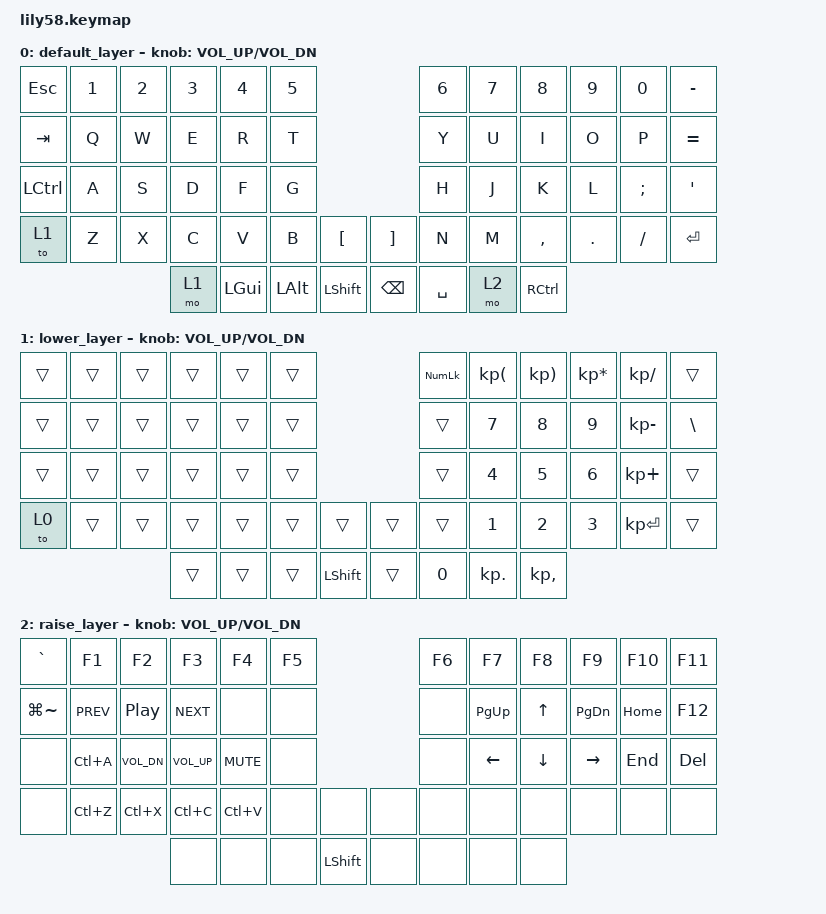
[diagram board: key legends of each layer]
/*
 * Copyright (c) 2020 The ZMK Contributors
 *
 * SPDX-License-Identifier: MIT
 */

#include <behaviors.dtsi>
#include <dt-bindings/zmk/keys.h>
#include <dt-bindings/zmk/bt.h>
#include <dt-bindings/zmk/ext_power.h>

/ {
	keymap {
		compatible = "zmk,keymap";

		default_layer {
// ------------------------------------------------------------------------------------------------------------
// |  ESC  |  1  |  2  |   3   |  4   |  5   |                   |  6   |  7    |  8    |  9   |   0   |   -   |
// |  TAB  |  Q  |  W  |   E   |  R   |  T   |                   |  Y   |  U    |  I    |  O   |   P   |   =   |
// |  CTRL |  A  |  S  |   D   |  F   |  G   |                   |  H   |  J    |  K    |  L   |   ;   |   '   |
// | TO(1) |  Z  |  X  |   C   |  V   |  B   |   "["  |  |  "]"  |  N   |  M    |  ,    |  .   |   /   | RETRN |
//                     | MO(1) | GUI  | ALT  |  SHIFT |  | BAKSP | SPACE| MO(2) | CTRL  |
			bindings = <
&kp ESC   &kp N1 &kp N2 &kp N3  &kp N4   &kp N5                          &kp N6    &kp N7   &kp N8    &kp N9  &kp N0   &kp MINUS
&kp TAB   &kp Q  &kp W  &kp E   &kp R    &kp T                           &kp Y     &kp U    &kp I     &kp O   &kp P    &kp EQUAL
&kp LCTRL &kp A  &kp S  &kp D   &kp F    &kp G                           &kp H     &kp J    &kp K     &kp L   &kp SEMI &kp SQT
&to 1     &kp Z  &kp X  &kp C   &kp V    &kp B     &kp LBKT   &kp RBKT   &kp N     &kp M    &kp COMMA &kp DOT &kp FSLH &kp RET
                        &mo 1   &kp LGUI &kp LALT  &kp LSHFT  &kp BSPC   &kp SPACE &mo 2    &kp RCTRL
			>;

			sensor-bindings = <&inc_dec_kp C_VOL_UP C_VOL_DN>;
		};

		lower_layer {
// --------------------------------------------------------------------------------------------------------------------
// |       |      |      |      |      |       |                  | NUM_LK |   (   |   )   |  MULTI |  DIV    |       |
// |       |      |      |      |      |       |                  |        |   7   |   8   |    9   |  MINUS  |   \   |
// |       |      |      |      |      |       |                  |        |   4   |   5   |    6   |  PLUS   |       |
// | TO(0) |      |      |      |      |       |       |  |       |        |   1   |   2   |    3   |  ENTR   |       |
//                       |      |      |       | SHIFT |  |       |   0    |  DOT  | COMMA |
			bindings = <
&trans    &trans  &trans  &trans   &trans   &trans                             &kp KP_NLCK  &kp KP_LPAR  &kp KP_RPAR  &kp KP_MULTIPLY  &kp KP_DIVIDE  &trans
&trans    &trans  &trans  &trans   &trans   &trans                             &trans       &kp N7       &kp N8       &kp N9           &kp KP_MINUS   &kp BSLH
&trans    &trans  &trans  &trans   &trans   &trans                             &trans       &kp N4       &kp N5       &kp N6           &kp KP_PLUS    &trans
&to 0     &trans  &trans  &trans   &trans   &trans     &trans       &trans     &trans       &kp N1       &kp N2       &kp N3           &kp KP_ENTER   &trans
                          &trans   &trans   &trans     &kp LSHFT    &trans     &kp N0       &kp KP_DOT   &kp KP_COMMA
			>;

			sensor-bindings = <&inc_dec_kp C_VOL_UP C_VOL_DN>;
		};

		raise_layer {
// ------------------------------------------------------------------------------------------------------------
// | GRAVE  |  F1   |   F2   |  F3   |  F4   |  F5  |                 |  F6  |  F7  |  F8  |  F9   | F10  | F11 |
// | GUI(~) | PREV  | PLAY/P | NEXT  |       |      |                 |      | PGUP |  UP  | PGDN  | HOME | F12 |
// |        | LC(A) | VOL_UP | VOLDN | MUTE  |      |                 |      | LEFT | DOWN | RIGHT | END  | DEL |
// |        | LC(Z) | LC(X)  | LC(C) | LC(V) |      |       |  |      |      |      |      |       |      |     |
//                           |       |       |      | SHIFT |  |      |      |      |      |
			bindings = <
&kp GRAVE      &kp F1      &kp F2        &kp F3        &kp F4      &kp F5                         &kp F6    &kp F7     &kp F8    &kp F9     &kp F10   &kp F11
&kp LG(TILDE)  &kp C_PREV  &kp C_PP      &kp C_NEXT    &none       &none                          &none     &kp PG_UP  &kp UP    &kp PG_DN  &kp HOME  &kp F12
&none          &kp LC(A)   &kp C_VOL_DN  &kp C_VOL_UP  &kp K_MUTE  &none                          &none     &kp LEFT   &kp DOWN  &kp RIGHT  &kp END   &kp DEL
&none          &kp LC(Z)   &kp LC(X)     &kp LC(C)     &kp LC(V)   &none     &none      &none     &none     &none      &none     &none      &none     &none    
                                         &none         &none       &none     &kp LSHFT  &none     &none     &none      &none
			>;

			sensor-bindings = <&inc_dec_kp C_VOL_UP C_VOL_DN>;
		};
	};
};
